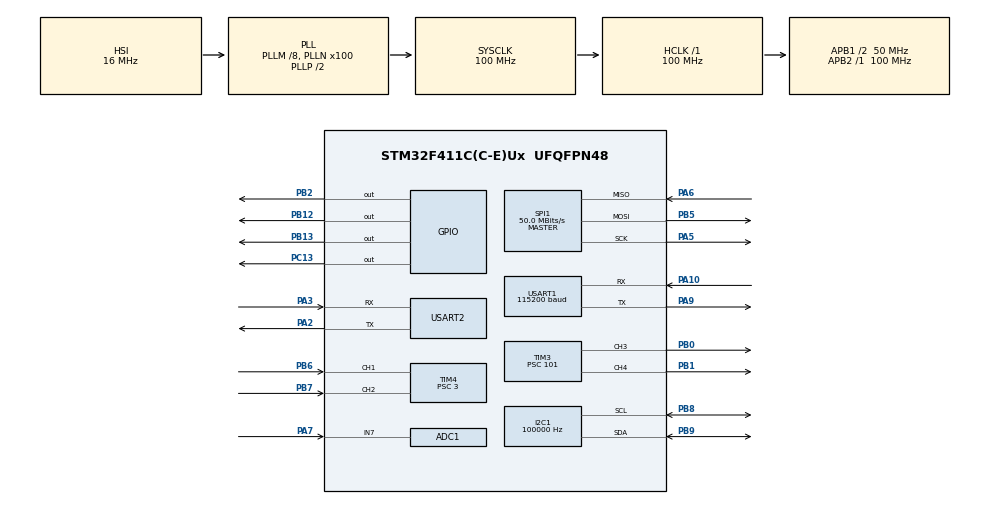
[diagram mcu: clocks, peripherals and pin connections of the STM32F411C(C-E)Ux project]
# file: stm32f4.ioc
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ADC1.Channel-5\#ChannelRegularConversion=ADC_CHANNEL_7
ADC1.NbrOfConversionFlag=1
ADC1.Rank-5\#ChannelRegularConversion=1
ADC1.SamplingTime-5\#ChannelRegularConversion=ADC_SAMPLETIME_3CYCLES
ADC1.master=1
I2C1.ClockSpeed=100000
Mcu.Family=STM32F4
Mcu.Name=STM32F411C(C-E)Ux
Mcu.Package=UFQFPN48
NVIC.PriorityGroup=NVIC_PRIORITYGROUP_4
NVIC.USART1_IRQn=true\:0\:0\:false\:false\:true\:true\:true
NVIC.USART2_IRQn=true\:0\:0\:false\:false\:true\:true\:true
PA10.Mode=Asynchronous
PA10.Signal=USART1_RX
PA13.Mode=Trace_Asynchronous_SW
PA13.Signal=SYS_JTMS-SWDIO
PA14.Mode=Trace_Asynchronous_SW
PA14.Signal=SYS_JTCK-SWCLK
PA2.Mode=Asynchronous
PA2.Signal=USART2_TX
PA3.Mode=Asynchronous
PA3.Signal=USART2_RX
PA5.Mode=Full_Duplex_Master
PA5.Signal=SPI1_SCK
PA6.Mode=Full_Duplex_Master
PA6.Signal=SPI1_MISO
PA7.Signal=ADCx_IN7
PA9.Mode=Asynchronous
PA9.Signal=USART1_TX
PB0.Signal=S_TIM3_CH3
PB1.Signal=S_TIM3_CH4
PB12.Signal=GPIO_Output
PB13.Signal=GPIO_Output
PB2.Signal=GPIO_Output
PB3.Mode=Trace_Asynchronous_SW
PB3.Signal=SYS_JTDO-SWO
PB5.Mode=Full_Duplex_Master
PB5.Signal=SPI1_MOSI
PB6.Signal=S_TIM4_CH1
PB7.Signal=S_TIM4_CH2
PB8.Mode=I2C
PB8.Signal=I2C1_SCL
PB9.Mode=I2C
PB9.Signal=I2C1_SDA
PC13-ANTI_TAMP.Signal=GPIO_Output
PC14-OSC32_IN.Mode=LSE-External-Oscillator
PC14-OSC32_IN.Signal=RCC_OSC32_IN
PC15-OSC32_OUT.Mode=LSE-External-Oscillator
PC15-OSC32_OUT.Signal=RCC_OSC32_OUT
PH0\ -\ OSC_IN.Mode=HSE-External-Oscillator
PH0\ -\ OSC_IN.Signal=RCC_OSC_IN
PH1\ -\ OSC_OUT.Mode=HSE-External-Oscillator
PH1\ -\ OSC_OUT.Signal=RCC_OSC_OUT
ProjectManager.HeapSize=0x200
ProjectManager.StackSize=0x400
ProjectManager.TargetToolchain=STM32CubeIDE
RCC.48MHZClocksFreq_Value=50000000
RCC.AHBFreq_Value=100000000
RCC.APB1CLKDivider=RCC_HCLK_DIV2
RCC.APB1Freq_Value=50000000
RCC.APB1TimFreq_Value=100000000
RCC.APB2Freq_Value=100000000
RCC.APB2TimFreq_Value=100000000
RCC.CortexFreq_Value=100000000
RCC.HCLKFreq_Value=100000000
RCC.HSE_VALUE=25000000
RCC.HSI_VALUE=16000000
RCC.PLLM=8
RCC.PLLN=100
RCC.SYSCLKFreq_VALUE=100000000
RCC.SYSCLKSource=RCC_SYSCLKSOURCE_PLLCLK
RCC.VCOOutputFreq_Value=200000000
SH.ADCx_IN7.0=ADC1_IN7,IN7
SH.S_TIM3_CH3.0=TIM3_CH3,PWM Generation3 CH3
SH.S_TIM3_CH4.0=TIM3_CH4,PWM Generation4 CH4
SH.S_TIM4_CH1.0=TIM4_CH1,Encoder_Interface
SH.S_TIM4_CH2.0=TIM4_CH2,Encoder_Interface
SPI1.CalculateBaudRate=50.0 MBits/s
SPI1.Direction=SPI_DIRECTION_2LINES
SPI1.Mode=SPI_MODE_MASTER
SPI1.VirtualType=VM_MASTER
TIM3.Channel-PWM\ Generation3\ CH3=TIM_CHANNEL_3
TIM3.Channel-PWM\ Generation4\ CH4=TIM_CHANNEL_4
TIM3.OCMode_PWM-PWM\ Generation3\ CH3=TIM_OCMODE_PWM2
TIM3.OCMode_PWM-PWM\ Generation4\ CH4=TIM_OCMODE_PWM2
TIM3.OCPolarity_3=TIM_OCPOLARITY_LOW
TIM3.OCPolarity_4=TIM_OCPOLARITY_LOW
TIM3.Period=20000
TIM3.Prescaler=101
TIM4.EncoderMode=TIM_ENCODERMODE_TI12
TIM4.Prescaler=3
USART1.BaudRate=115200
USART1.VirtualMode=VM_ASYNC
USART2.VirtualMode=VM_ASYNC
VP_TIM3_VS_ClockSourceINT.Mode=Internal
board=custom

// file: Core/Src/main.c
/* USER CODE BEGIN Header */
/**
  ******************************************************************************
  * @file           : main.c
  * @brief          : Main program body
  ******************************************************************************
  * @attention
  *
  * <h2><center>&copy; Copyright (c) 2021 STMicroelectronics.
  * All rights reserved.</center></h2>
  *
  * This software component is licensed by ST under BSD 3-Clause license,
  * the "License"; You may not use this file except in compliance with the
  * License. You may obtain a copy of the License at:
  *                        opensource.org/licenses/BSD-3-Clause
  *
  ******************************************************************************
  */
/* USER CODE END Header */
#include "main.h"

/* USER CODE BEGIN Includes */
#include "motor.h"
#include "cJSON.h"

/* USER CODE END Includes */

/* USER CODE BEGIN PD */
#define COUNTOF(a) (sizeof(a) / sizeof(*(a)))
#define MSG_LEN 10
#define USART_REC_LEN 200
/* USER CODE END PD */

ADC_HandleTypeDef hadc1;

I2C_HandleTypeDef hi2c1;

SPI_HandleTypeDef hspi1;

TIM_HandleTypeDef htim3;
TIM_HandleTypeDef htim4;

UART_HandleTypeDef huart1;
UART_HandleTypeDef huart2;

/* USER CODE BEGIN PV */
cJSON *_flag;
cJSON *_t_x;
cJSON *_t_y;
cJSON *_p_x;
cJSON *_p_y;
cJSON *_v_x;
cJSON *_v_y;
int flag;
double t_x;
double t_y;
double p_x;
double p_y;
double v_x;
double v_y;
motor m1, m2;

uint16_t Mode;

uint8_t m_Uart1_RcvByte;
uint16_t USART1_RX_STA;
uint8_t USART1_RX_BUF[USART_REC_LEN];

uint8_t m_Uart2_RcvByte;
uint16_t USART2_RX_STA;
uint8_t USART2_RX_BUF[USART_REC_LEN];
uint8_t sprintf_buffer[1000];

int Start;               //�???????????????键启�???????????????
int point_choose[4];     //模式六�?�择�???????????????
double target_pos[9][2]; //储存的九个目标点的位�???????????????
/* USER CODE END PV */

void SystemClock_Config(void);
static void MX_GPIO_Init(void);
static void MX_I2C1_Init(void);
static void MX_TIM3_Init(void);
static void MX_USART1_UART_Init(void);
static void MX_USART2_UART_Init(void);
static void MX_TIM4_Init(void);
static void MX_ADC1_Init(void);
static void MX_SPI1_Init(void);

/* USER CODE BEGIN 0 */
#include "stdio.h"
#include "mpu6050.h"
uint8_t myBuffer[] = "I have gotten your message: "; //User prompt information
uint8_t Enter[] = "\r\n";                            //Enter carriage return
uint8_t getBuffer[100] = "ttttttttttttt";            //user-defined buffer
uint8_t UART1_rxBuffer[1000];                        //user-defined buffer
uint8_t UART1_msg_ok = 0;
// Redirect print start

// The _write function is defined in syscalls.c using __weak, so you can define the _write function directly in other files
int _write(int file, char *ptr, int len)
{
  /* Implement your write code here, this is used by puts and printf for example */
  int i = 0;
  for (i = 0; i < len; i++)
    ITM_SendChar((*ptr++));
  return len;
}
// redirect print end
void HAL_UART_ErrorCallback(UART_HandleTypeDef *huart)
{
  /* Prevent unused argument(s) compilation warning */
  if (huart->ErrorCode & HAL_UART_ERROR_ORE)
  {
    __HAL_UART_CLEAR_OREFLAG(huart);
    HAL_UART_Receive_IT(huart, &m_Uart1_RcvByte, 1);
  }
  /* NOTE : This function should not be modified, when the callback is needed,
            the HAL_UART_ErrorCallback can be implemented in the user file.
   */
}
void delay_us(uint32_t udelay)
{
  uint32_t startval, tickn, delays, wait;

  startval = SysTick->VAL;
  tickn = HAL_GetTick();
  //sysc = 72000;  //SystemCoreClock / (1000U / uwTickFreq);
  delays = udelay * 72; //sysc / 1000 * udelay;
  if (delays > startval)
  {
    while (HAL_GetTick() == tickn)
    {
    }
    wait = 72000 + startval - delays;
    while (wait < SysTick->VAL)
    {
    }
  }
  else
  {
    wait = startval - delays;
    while (wait < SysTick->VAL && HAL_GetTick() == tickn)
    {
    }
  }
}
uint16_t ADC_Value = 0;
uint16_t dong_get_adc()
{
  //�?启ADC1
  HAL_ADC_Start(&hadc1);
  //等待ADC转换完成，超时为100ms
  HAL_ADC_PollForConversion(&hadc1, 100);
  //判断ADC是否转换成功
  if (HAL_IS_BIT_SET(HAL_ADC_GetState(&hadc1), HAL_ADC_STATE_REG_EOC))
  {
    //读取�?
    return HAL_ADC_GetValue(&hadc1);
  }
  return 0;
}
void UART1_ReceiveByte(uint8_t Res)
{

  if ((USART1_RX_STA & 0x8000) == 0) //????δ???
  {
    if (USART1_RX_STA & 0x4000) //???????0x0d
    {
      if (Res != 0x0a)
        USART1_RX_STA = 0; //???????,??????
      else
        USART1_RX_STA |= 0x8000; //?????????
    }
    else //??????0X0D
    {
      if (Res == 0x0d)
        USART1_RX_STA |= 0x4000;
      else
      {
        USART1_RX_BUF[USART1_RX_STA & 0X3FFF] = Res;
        USART1_RX_STA++;
        if (USART1_RX_STA > (USART_REC_LEN - 1))
          USART1_RX_STA = 0; //???????????,??????????
      }
    }
  }
}
void UART2_ReceiveByte(uint8_t Res)
{

  if ((USART2_RX_STA & 0x8000) == 0)
  {
    if (USART2_RX_STA & 0x4000)
    {
      if (Res != 0x0a)
        USART2_RX_STA = 0;
      else
        USART2_RX_STA |= 0x8000; //?????????
    }
    else //??????0X0D
    {
      if (Res == 0x0d)
        USART2_RX_STA |= 0x4000;
      else
      {
        USART2_RX_BUF[USART2_RX_STA & 0X3FFF] = Res;
        USART2_RX_STA++;
        if (USART2_RX_STA > (USART_REC_LEN - 1))
          USART2_RX_STA = 0; //???????????,??????????
      }
    }
  }
}
void HAL_UART_RxCpltCallback(UART_HandleTypeDef *UartHandle)
{
  HAL_StatusTypeDef status;

  if (UartHandle->Instance == USART1)
  {
    UART1_ReceiveByte(m_Uart1_RcvByte);
    status = HAL_UART_Receive_IT(&huart1, &m_Uart1_RcvByte, 1);
    // if (HAL_UART_Receive_IT(&huart1, UART1_rxBuffer, MSG_LEN) != HAL_OK)
    // {
    //   Error_Handler();
    // }
  }
  if (UartHandle->Instance == USART2)
  {
    UART2_ReceiveByte(m_Uart2_RcvByte);
    // HAL_GPIO_TogglePin(GPIOC, GPIO_PIN_13);

    status = HAL_UART_Receive_IT(&huart2, &m_Uart2_RcvByte, 1);
    // if (HAL_UART_Receive_IT(&huart1, UART1_rxBuffer, MSG_LEN) != HAL_OK)
    // {
    //   Error_Handler();
    // }
  }
}
void uart_print(UART_HandleTypeDef *uart, uint8_t *s)
{
  while (*s != '\0')
  {
    if (HAL_UART_Transmit(uart, s, 1, 100) != HAL_OK)
    {
      Error_Handler();
    }
    s++;
  }
}
void My_Jsonparse(const char *USART_RX_BUF)
{
  cJSON *recv_json = cJSON_Parse(USART_RX_BUF);
  //if (!root) printf("wwwwwwwwwwwwwww\r\n");
  //else printf("yyyyyyyyyyyyyyyyy!!!!\r\n");
  cJSON *_flag = cJSON_GetObjectItem(recv_json, "flag");
  cJSON *_p_x = cJSON_GetObjectItem(recv_json, "pos_x");
  cJSON *_p_y = cJSON_GetObjectItem(recv_json, "pos_y");
  cJSON *_v_x = cJSON_GetObjectItem(recv_json, "v_x");
  cJSON *_v_y = cJSON_GetObjectItem(recv_json, "v_y");
  cJSON *_t_x = cJSON_GetObjectItem(recv_json, "x");
  cJSON *_t_y = cJSON_GetObjectItem(recv_json, "y");
  double t_x = _t_x->valuedouble;
  double t_y = _t_y->valuedouble;
  double p_x = _p_x->valuedouble;
  double p_y = _p_y->valuedouble;
  double v_x = _v_x->valuedouble;
  double v_y = _v_y->valuedouble;
  ;
  //printf("qaq%s\r\n\r\n", USART_RX_BUF);
  // printf("----%d\r\n", _flag->valueint);
  // if (!recv_json) {
  // 	printf("abaaagbabababababababaab\r\n");
  // 	return;
  // }
  // else
  // 	printf("yeeeeeeeeeeeeeeeeah!!!!\r\n");
  // printf("p_x: %.2lf\r\n", p_x);
  flag = _flag->valueint;
  m1.pos.cur = 50;
  if (flag == 1)
  {
    // _t_x = cJSON_GetObjectItem(recv_json, "x");
    //printf("+++++%s\n",_t_x->valuestring);
    // t_x = _t_x->valuedouble;
    //???    // target_pos[cnt_tar][0] = t_x;
    // // _t_y = cJSON_GetObjectItem(recv_json, "y");
    // // t_y = _t_y->valuedouble;
    // target_pos[cnt_tar][1] = t_y;
    //???    cnt_tar++;
  }
  else
  {
    // printf("success point 1\r\n");
    // _p_x = cJSON_GetObjectItem(recv_json, "pos_x");
    // printf("+++++%.2lf\r\n", _p_x->valuedouble);
    // p_x = _p_x->valuedouble;
    // printf("p_x=%.2lf\xff\xff\xff\r\n", p_x);
    m1.speed.cur = p_x;
    // printf("p_x: %.2lf\r\n", p_x);
    // _p_y = cJSON_GetObjectItem(recv_json, "pos_y");
    // p_y = _p_y->valuedouble;
    m2.speed.cur = p_y;
    // _v_x = cJSON_GetObjectItem(recv_json, "v_x");
    // v_x = _v_x->valuedouble;
    m1.pos.cur = v_x;
    // _v_y = cJSON_GetObjectItem(recv_json, "v_y");
    // v_y = _v_y->valuedouble;
    m2.pos.cur = v_y;
  }
  cJSON_Delete(recv_json);
}

/* USER CODE END 0 */

int main(void)
{

  /* MCU Configuration--------------------------------------------------------*/

  /* Reset of all peripherals, Initializes the Flash interface and the Systick. */
  HAL_Init();

  /* Configure the system clock */
  SystemClock_Config();

  /* Initialize all configured peripherals */
  MX_GPIO_Init();
  MX_I2C1_Init();
  MX_TIM3_Init();
  MX_USART1_UART_Init();
  MX_USART2_UART_Init();
  MX_TIM4_Init();
  MX_ADC1_Init();
  MX_SPI1_Init();
  /* USER CODE BEGIN 2 */
  HAL_TIM_PWM_Start(&htim3, TIM_CHANNEL_3);
  HAL_TIM_PWM_Start(&htim3, TIM_CHANNEL_4);

  HAL_UART_Receive_IT(&huart1, &m_Uart1_RcvByte, 1);
  HAL_UART_Receive_IT(&huart2, &m_Uart2_RcvByte, 1);
  HAL_TIM_Encoder_Start(&htim4, TIM_CHANNEL_ALL);

  PCA9685_Init(&hi2c1);
  float init_angle = 0;
  PCA9685_SetServoAngle(0, &init_angle);
  PCA9685_SetServoAngle(1, &init_angle);
  PCA9685_SetServoAngle(2, &init_angle);
  PCA9685_SetServoAngle(3, &init_angle);
  PCA9685_SetServoAngle(4, &init_angle);

  // HAL_Delay(2000);
  /* USER CODE END 2 */

  /* Infinite loop */
  /* USER CODE BEGIN WHILE */

  //pid init
  motor_init(&m1,
             0, 0, 0, 0,
             0, 0, 0, 0,
             50, 250, 0, 180, htim3, TIM_CHANNEL_3);
  motor_init(&m2,
             0, 0, 0, 0,
             0, 0, 0, 0,
             50, 250, 0, 180, htim3, TIM_CHANNEL_4);
  // int32_t Mode = 0;
  // printf("START!"); // print
  // int32_t CH1_DC = 0, CH2_DC = 0;
  __HAL_TIM_SET_COMPARE(&htim3, TIM_CHANNEL_3, 1550);
  __HAL_TIM_SET_COMPARE(&htim3, TIM_CHANNEL_4, 1450);
  int count = 0;
  int cnt = 0;
  uint8_t ActiveServo = 0;
  lcd_init();
  // HAL_Delay(1000);
  // HAL_Delay(1000);
  // lcd_put_cur(1, 0);
  // lcd_send_string("from Cedr1c");
  OLED_Init();
  while (1)
  {
    lcd_clear();
    lcd_put_cur(0, 0);
    lcd_send_string("Hello World!");
    ADC_Value = dong_get_adc();
    lcd_put_cur(1, 0);
    sprintf(sprintf_buffer, "adc %4d", (int)ADC_Value);
    lcd_send_string(sprintf_buffer);
    HAL_Delay(200);
    OLED_Fill(0, 0, 30, 30, 1);
    HAL_Delay(200);
    OLED_Fill(10, 10, 30, 30, 0);
    HAL_Delay(200);
    // for (int i = 0; i < 180; i++)
    // {
    //   motor_move_angle(&m1, 1.0 * i);
    //   HAL_Delay(30);
    // }
    // for (int i = 180; i >= 0; i--)
    // {
    //   motor_move_angle(&m1, 1.0 * i);
    //   HAL_Delay(30);
    // }
    // while (CH1_DC < 300)
    // {
    //   CH1_DC += 10;
    //   CH2_DC += 10;
    //   // __HAL_TIM_SET_COMPARE(&htim3, TIM_CHANNEL_3, CH1_DC + 1450);
    //   __HAL_TIM_SET_COMPARE(&htim3, TIM_CHANNEL_4, CH2_DC + 1450);
    //   HAL_Delay(10);
    // }
    // while (CH1_DC > 0)
    // {
    //   // __HAL_TIM_SET_COMPARE(&htim3, TIM_CHANNEL_3, CH1_DC + 1450);
    //   __HAL_TIM_SET_COMPARE(&htim3, TIM_CHANNEL_4, CH2_DC + 1450);
    //   CH1_DC -= 10;
    //   CH2_DC -= 10;
    //   HAL_Delay(10);
    // }
    // }
    // while (CH1_DC > 0)
    // {
    //   __HAL_TIM_SET_COMPARE(&htim3, TIM_CHANNEL_3, CH1_DC);
    //   __HAL_TIM_SET_COMPARE(&htim3, TIM_CHANNEL_4, CH2_DC);
    //   CH1_DC -= 10;
    //   CH2_DC -= 10;
    //   HAL_Delay(100);
    // HAL_UART_Transmit(&huart2, "LIVE\n", 2, 1000);

    // printf("Hello SWV debugging prints...count = %d ActiveServo=%d\r\n", count++, ActiveServo);
    // // sprintf(sprintf_buffer, "Hello SWV debugging prints...count = %d cnt=%d\r\n", count++, cnt);
    // uart_print(&huart2, sprintf_buffer);
    // HAL_GPIO_TogglePin(GPIOC, GPIO_PIN_13);
    // HAL_Delay(100);

    lcd_clear();
    lcd_put_cur(0, 0);
    sprintf(sprintf_buffer, "IIC DETECT %d", (int)0);
    lcd_send_string(sprintf_buffer);
    i2c_detect();

    // for (float Angle = 0; Angle < 180; Angle += 1)
    // {
    //   lcd_clear();

    //   PCA9685_SetServoAngle(ActiveServo, &Angle);
    //   lcd_put_cur(0, 0);
    //   sprintf(sprintf_buffer, "servo %d", (int)ActiveServo);
    //   lcd_send_string(sprintf_buffer);
    //   lcd_put_cur(1, 0);
    //   sprintf(sprintf_buffer, "angle %d", (int)Angle);
    //   lcd_send_string(sprintf_buffer);
    //   HAL_Delay(4);
    // }
    // for (float Angle = 180; Angle > 0; Angle -= 1)
    // {
    //   lcd_clear();

    //   PCA9685_SetServoAngle(ActiveServo, &Angle);
    //   lcd_put_cur(0, 0);
    //   sprintf(sprintf_buffer, "servo %d", (int)ActiveServo);
    //   lcd_send_string(sprintf_buffer);
    //   lcd_put_cur(1, 0);
    //   sprintf(sprintf_buffer, "angle %d", (int)Angle);
    //   lcd_send_string(sprintf_buffer);
    //   HAL_Delay(4);
    // }
    ActiveServo++;
    if (ActiveServo > 1)
      ActiveServo = 0;
    SD_MPU6050_Result result;
    SD_MPU6050 mpu1;

    uint8_t mpu_ok[15] = {"MPU WORK FINE\n"};
    uint8_t mpu_not[17] = {"MPU NOT WORKING\n"};
    result = SD_MPU6050_Init(&hi2c1, &mpu1, SD_MPU6050_Device_0, SD_MPU6050_Accelerometer_2G, SD_MPU6050_Gyroscope_250s);
    HAL_Delay(500);
    if (result == SD_MPU6050_Result_Ok)
    {
      printf("6050 ok\r\n");
    }
    else
    {
      printf("6050 buok\r\n");
    }
    HAL_Delay(500);
    SD_MPU6050_ReadTemperature(&hi2c1, &mpu1);
    float temper = mpu1.Temperature;
    SD_MPU6050_ReadGyroscope(&hi2c1, &mpu1);
    int16_t g_x = mpu1.Gyroscope_X;
    int16_t g_y = mpu1.Gyroscope_Y;
    int16_t g_z = mpu1.Gyroscope_Z;
    SD_MPU6050_ReadAccelerometer(&hi2c1, &mpu1);
    int16_t a_x = mpu1.Accelerometer_X;
    int16_t a_y = mpu1.Accelerometer_Y;
    int16_t a_z = mpu1.Accelerometer_Z;
    sprintf(sprintf_buffer, "g_x %d g_y %d g_x %d \r\n", g_x, g_y, g_z);
    printf("%s", sprintf_buffer);
    sprintf(sprintf_buffer, "a_x %d a_y %d a_x %d \r\n", a_x, a_y, a_z);
    printf("%s", sprintf_buffer);
    //   cnt = __HAL_TIM_GetCounter(&htim4);
    //   if (USART1_RX_STA & 0x8000)
    //   {
    //     UART1_rxBuffer[MSG_LEN] = '\n';
    //     My_Jsonparse(UART1_rxBuffer);

    //     UART1_msg_ok = 0;
    //     // printf("px.val=%.2lf\xff\xff\xff\r\n", m1.speed.cur);
    //     // printf("py.val=%.2lf\xff\xff\xff\r\n", m2.speed.cur);
    //     // printf("vx.val=%.2lf\xff\xff\xff\r\n", m1.pos.cur);
    //     // printf("vy.val=%.2lf\xff\xff\xff\r\n", m2.pos.cur);
    //     // printf("tx.val=%.2lf\xff\xff\xff\r\n", m1.pos.input);
    //     // printf("ty.val=%.2lf\xff\xff\xff\r\n", m2.pos.input);
    //     // printf("testing2!"); // print
    //     // printf("\r\n");      // manual new line
    //     switch (Mode) //������Ŀѡ����
    //     {
    //     case 1:
    //       Mode_1();
    //       break;
    //     case 2:
    //       Mode_2();
    //       break;
    //     case 3:
    //       Mode_3();
    //       break;
    //     case 4:
    //       Mode_4();
    //       break;
    //     case 5:
    //       Mode_5();
    //       break;
    //     case 6:
    //       Mode_6();
    //       break;
    //     case 7:
    //       Mode_7();
    //       break;
    //     case 8:
    //       Mode_8();
    //       break;
    //     default:
    //       break;
    //     }
    //   }
    //   char end[] = {0xff, 0xff, 0xff}; //������ͨ��Э��
    //   uint16_t len;
    //   uint16_t t;
    //   uint16_t sel;
    //   uint16_t num;
    //   uint16_t i;
    //   uint32_t times;

    //   uint16_t len_uart;
    //   if (USART2_RX_STA & 0x8000)
    //   {
    //     len = USART2_RX_STA & 0x3fff; //�õ��˴ν��յ������ݳ���
    //     sel = USART2_RX_BUF[0];       //��ʶ��
    //     num = USART2_RX_BUF[2] + USART2_RX_BUF[3] * 256;
    //     HAL_GPIO_TogglePin(GPIOC, GPIO_PIN_13);
    //     if (sel == 0)
    //     {
    //       printf("n3.val=%d\xff\xff\xff", num);
    //       fflush(stdout);
    //     }
    //     else if (sel == 1)
    //     {
    //       printf("n4.val=%d\xff\xff\xff", num);
    //       fflush(stdout);
    //     }
    //     else if (sel == 2)
    //     {
    //       printf("n5.val=%d\xff\xff\xff", num);
    //       fflush(stdout);
    //     }

    //     else if (sel == 3)
    //     {
    //       // LED0 = !LED0;
    //       Mode = 1;
    //     }
    //     else if (sel == 4)
    //     {
    //       Mode = 2;
    //     }
    //     else if (sel == 5)
    //     {
    //       Mode = 3;
    //     }
    //     else if (sel == 6)
    //     {
    //       Mode = 4;
    //     }
    //     else if (sel == 7)
    //     {
    //       Mode = 5;
    //     }
    //     else if (sel == 8)
    //     {
    //       Mode = 6;
    //     }
    //     else if (sel == 9)
    //     {
    //       Mode = 7;
    //     }
    //     else if (sel == 'A')
    //     {
    //       Mode = 8;
    //     }
    //     //ģʽ��ѡ���ĸ�Ŀ���???????????????0~3=A~D
    //     else if (sel == 'B')
    //     {
    //       point_choose[3] = num % 10;
    //       num = num / 10;
    //       point_choose[2] = num % 10;
    //       num = num / 10;
    //       point_choose[1] = num % 10;
    //       num = num / 10;
    //       point_choose[0] = num % 10;
    //     }
    //     //һ������
    //     else if (sel == 'C')
    //     {
    //       Start = 1;
    //     }
    //     //һ��ֹͣ
    //     else if (sel == 'D')
    //     {
    //       Start = 0;
    //     }

    //     USART2_RX_STA = 0;
    //   }
  }
  /* USER CODE END WHILE */

}

void SystemClock_Config(void)
{
  RCC_OscInitTypeDef RCC_OscInitStruct = {0};
  RCC_ClkInitTypeDef RCC_ClkInitStruct = {0};

  /** Configure the main internal regulator output voltage
  */
  __HAL_RCC_PWR_CLK_ENABLE();
  __HAL_PWR_VOLTAGESCALING_CONFIG(PWR_REGULATOR_VOLTAGE_SCALE1);
  /** Initializes the RCC Oscillators according to the specified parameters
  * in the RCC_OscInitTypeDef structure.
  */
  RCC_OscInitStruct.OscillatorType = RCC_OSCILLATORTYPE_HSI;
  RCC_OscInitStruct.HSIState = RCC_HSI_ON;
  RCC_OscInitStruct.HSICalibrationValue = RCC_HSICALIBRATION_DEFAULT;
  RCC_OscInitStruct.PLL.PLLState = RCC_PLL_ON;
  RCC_OscInitStruct.PLL.PLLSource = RCC_PLLSOURCE_HSI;
  RCC_OscInitStruct.PLL.PLLM = 8;
  RCC_OscInitStruct.PLL.PLLN = 100;
  RCC_OscInitStruct.PLL.PLLP = RCC_PLLP_DIV2;
  RCC_OscInitStruct.PLL.PLLQ = 4;
  if (HAL_RCC_OscConfig(&RCC_OscInitStruct) != HAL_OK)
  {
    Error_Handler();
  }
  /** Initializes the CPU, AHB and APB buses clocks
  */
  RCC_ClkInitStruct.ClockType = RCC_CLOCKTYPE_HCLK | RCC_CLOCKTYPE_SYSCLK | RCC_CLOCKTYPE_PCLK1 | RCC_CLOCKTYPE_PCLK2;
  RCC_ClkInitStruct.SYSCLKSource = RCC_SYSCLKSOURCE_PLLCLK;
  RCC_ClkInitStruct.AHBCLKDivider = RCC_SYSCLK_DIV1;
  RCC_ClkInitStruct.APB1CLKDivider = RCC_HCLK_DIV2;
  RCC_ClkInitStruct.APB2CLKDivider = RCC_HCLK_DIV1;

  if (HAL_RCC_ClockConfig(&RCC_ClkInitStruct, FLASH_LATENCY_3) != HAL_OK)
  {
    Error_Handler();
  }
}

static void MX_ADC1_Init(void)
{

  ADC_ChannelConfTypeDef sConfig = {0};

  /** Configure the global features of the ADC (Clock, Resolution, Data Alignment and number of conversion)
  */
  hadc1.Instance = ADC1;
  hadc1.Init.ClockPrescaler = ADC_CLOCK_SYNC_PCLK_DIV4;
  hadc1.Init.Resolution = ADC_RESOLUTION_12B;
  hadc1.Init.ScanConvMode = DISABLE;
  hadc1.Init.ContinuousConvMode = DISABLE;
  hadc1.Init.DiscontinuousConvMode = DISABLE;
  hadc1.Init.ExternalTrigConvEdge = ADC_EXTERNALTRIGCONVEDGE_NONE;
  hadc1.Init.ExternalTrigConv = ADC_SOFTWARE_START;
  hadc1.Init.DataAlign = ADC_DATAALIGN_RIGHT;
  hadc1.Init.NbrOfConversion = 1;
  hadc1.Init.DMAContinuousRequests = DISABLE;
  hadc1.Init.EOCSelection = ADC_EOC_SINGLE_CONV;
  if (HAL_ADC_Init(&hadc1) != HAL_OK)
  {
    Error_Handler();
  }
  /** Configure for the selected ADC regular channel its corresponding rank in the sequencer and its sample time.
  */
  sConfig.Channel = ADC_CHANNEL_7;
  sConfig.Rank = 1;
  sConfig.SamplingTime = ADC_SAMPLETIME_3CYCLES;
  if (HAL_ADC_ConfigChannel(&hadc1, &sConfig) != HAL_OK)
  {
    Error_Handler();
  }
}

static void MX_I2C1_Init(void)
{

  hi2c1.Instance = I2C1;
  hi2c1.Init.ClockSpeed = 100000;
  hi2c1.Init.DutyCycle = I2C_DUTYCYCLE_2;
  hi2c1.Init.OwnAddress1 = 0;
  hi2c1.Init.AddressingMode = I2C_ADDRESSINGMODE_7BIT;
  hi2c1.Init.DualAddressMode = I2C_DUALADDRESS_DISABLE;
  hi2c1.Init.OwnAddress2 = 0;
  hi2c1.Init.GeneralCallMode = I2C_GENERALCALL_DISABLE;
  hi2c1.Init.NoStretchMode = I2C_NOSTRETCH_DISABLE;
  if (HAL_I2C_Init(&hi2c1) != HAL_OK)
  {
    Error_Handler();
  }
}

static void MX_SPI1_Init(void)
{

  /* SPI1 parameter configuration*/
  hspi1.Instance = SPI1;
  hspi1.Init.Mode = SPI_MODE_MASTER;
  hspi1.Init.Direction = SPI_DIRECTION_2LINES;
  hspi1.Init.DataSize = SPI_DATASIZE_8BIT;
  hspi1.Init.CLKPolarity = SPI_POLARITY_LOW;
  hspi1.Init.CLKPhase = SPI_PHASE_1EDGE;
  hspi1.Init.NSS = SPI_NSS_SOFT;
  hspi1.Init.BaudRatePrescaler = SPI_BAUDRATEPRESCALER_2;
  hspi1.Init.FirstBit = SPI_FIRSTBIT_MSB;
  hspi1.Init.TIMode = SPI_TIMODE_DISABLE;
  hspi1.Init.CRCCalculation = SPI_CRCCALCULATION_DISABLE;
  hspi1.Init.CRCPolynomial = 10;
  if (HAL_SPI_Init(&hspi1) != HAL_OK)
  {
    Error_Handler();
  }
}

static void MX_TIM3_Init(void)
{

  TIM_ClockConfigTypeDef sClockSourceConfig = {0};
  TIM_MasterConfigTypeDef sMasterConfig = {0};
  TIM_OC_InitTypeDef sConfigOC = {0};

  htim3.Instance = TIM3;
  htim3.Init.Prescaler = 101;
  htim3.Init.CounterMode = TIM_COUNTERMODE_UP;
  htim3.Init.Period = 20000;
  htim3.Init.ClockDivision = TIM_CLOCKDIVISION_DIV1;
  htim3.Init.AutoReloadPreload = TIM_AUTORELOAD_PRELOAD_DISABLE;
  if (HAL_TIM_Base_Init(&htim3) != HAL_OK)
  {
    Error_Handler();
  }
  sClockSourceConfig.ClockSource = TIM_CLOCKSOURCE_INTERNAL;
  if (HAL_TIM_ConfigClockSource(&htim3, &sClockSourceConfig) != HAL_OK)
  {
    Error_Handler();
  }
  if (HAL_TIM_PWM_Init(&htim3) != HAL_OK)
  {
    Error_Handler();
  }
  sMasterConfig.MasterOutputTrigger = TIM_TRGO_RESET;
  sMasterConfig.MasterSlaveMode = TIM_MASTERSLAVEMODE_DISABLE;
  if (HAL_TIMEx_MasterConfigSynchronization(&htim3, &sMasterConfig) != HAL_OK)
  {
    Error_Handler();
  }
  sConfigOC.OCMode = TIM_OCMODE_PWM2;
  sConfigOC.Pulse = 0;
  sConfigOC.OCPolarity = TIM_OCPOLARITY_LOW;
  sConfigOC.OCFastMode = TIM_OCFAST_DISABLE;
  if (HAL_TIM_PWM_ConfigChannel(&htim3, &sConfigOC, TIM_CHANNEL_3) != HAL_OK)
  {
    Error_Handler();
  }
  if (HAL_TIM_PWM_ConfigChannel(&htim3, &sConfigOC, TIM_CHANNEL_4) != HAL_OK)
  {
    Error_Handler();
  }
  HAL_TIM_MspPostInit(&htim3);
}

static void MX_TIM4_Init(void)
{

  TIM_Encoder_InitTypeDef sConfig = {0};
  TIM_MasterConfigTypeDef sMasterConfig = {0};

  htim4.Instance = TIM4;
  htim4.Init.Prescaler = 3;
  htim4.Init.CounterMode = TIM_COUNTERMODE_UP;
  htim4.Init.Period = 65535;
  htim4.Init.ClockDivision = TIM_CLOCKDIVISION_DIV1;
  htim4.Init.AutoReloadPreload = TIM_AUTORELOAD_PRELOAD_DISABLE;
  sConfig.EncoderMode = TIM_ENCODERMODE_TI12;
  sConfig.IC1Polarity = TIM_ICPOLARITY_RISING;
  sConfig.IC1Selection = TIM_ICSELECTION_DIRECTTI;
  sConfig.IC1Prescaler = TIM_ICPSC_DIV1;
  sConfig.IC1Filter = 0;
  sConfig.IC2Polarity = TIM_ICPOLARITY_RISING;
  sConfig.IC2Selection = TIM_ICSELECTION_DIRECTTI;
  sConfig.IC2Prescaler = TIM_ICPSC_DIV1;
  sConfig.IC2Filter = 0;
  if (HAL_TIM_Encoder_Init(&htim4, &sConfig) != HAL_OK)
  {
    Error_Handler();
  }
  sMasterConfig.MasterOutputTrigger = TIM_TRGO_RESET;
  sMasterConfig.MasterSlaveMode = TIM_MASTERSLAVEMODE_DISABLE;
  if (HAL_TIMEx_MasterConfigSynchronization(&htim4, &sMasterConfig) != HAL_OK)
  {
    Error_Handler();
  }
}

static void MX_USART1_UART_Init(void)
{

  huart1.Instance = USART1;
  huart1.Init.BaudRate = 115200;
  huart1.Init.WordLength = UART_WORDLENGTH_8B;
  huart1.Init.StopBits = UART_STOPBITS_1;
  huart1.Init.Parity = UART_PARITY_NONE;
  huart1.Init.Mode = UART_MODE_TX_RX;
  huart1.Init.HwFlowCtl = UART_HWCONTROL_NONE;
  huart1.Init.OverSampling = UART_OVERSAMPLING_16;
  if (HAL_UART_Init(&huart1) != HAL_OK)
  {
    Error_Handler();
  }
}

static void MX_USART2_UART_Init(void)
{

  huart2.Instance = USART2;
  huart2.Init.BaudRate = 115200;
  huart2.Init.WordLength = UART_WORDLENGTH_8B;
  huart2.Init.StopBits = UART_STOPBITS_1;
  huart2.Init.Parity = UART_PARITY_NONE;
  huart2.Init.Mode = UART_MODE_TX_RX;
  huart2.Init.HwFlowCtl = UART_HWCONTROL_NONE;
  huart2.Init.OverSampling = UART_OVERSAMPLING_16;
  if (HAL_UART_Init(&huart2) != HAL_OK)
  {
    Error_Handler();
  }
}

static void MX_GPIO_Init(void)
{
  GPIO_InitTypeDef GPIO_InitStruct = {0};

  /* GPIO Ports Clock Enable */
  __HAL_RCC_GPIOC_CLK_ENABLE();
  __HAL_RCC_GPIOH_CLK_ENABLE();
  __HAL_RCC_GPIOA_CLK_ENABLE();
  __HAL_RCC_GPIOB_CLK_ENABLE();

  /*Configure GPIO pin Output Level */
  HAL_GPIO_WritePin(GPIOC, GPIO_PIN_13, GPIO_PIN_RESET);

  /*Configure GPIO pin Output Level */
  HAL_GPIO_WritePin(GPIOB, GPIO_PIN_2 | GPIO_PIN_12 | GPIO_PIN_13, GPIO_PIN_RESET);

  /*Configure GPIO pin : PC13 */
  GPIO_InitStruct.Pin = GPIO_PIN_13;
  GPIO_InitStruct.Mode = GPIO_MODE_OUTPUT_PP;
  GPIO_InitStruct.Pull = GPIO_NOPULL;
  GPIO_InitStruct.Speed = GPIO_SPEED_FREQ_LOW;
  HAL_GPIO_Init(GPIOC, &GPIO_InitStruct);

  /*Configure GPIO pins : PB2 PB12 PB13 */
  GPIO_InitStruct.Pin = GPIO_PIN_2 | GPIO_PIN_12 | GPIO_PIN_13;
  GPIO_InitStruct.Mode = GPIO_MODE_OUTPUT_PP;
  GPIO_InitStruct.Pull = GPIO_NOPULL;
  GPIO_InitStruct.Speed = GPIO_SPEED_FREQ_LOW;
  HAL_GPIO_Init(GPIOB, &GPIO_InitStruct);
}

void Error_Handler(void)
{
  /* USER CODE BEGIN Error_Handler_Debug */
  /* User can add his own implementation to report the HAL error return state */
  printf("ERROR\n");

  __disable_irq();
  while (1)
  {
  }
  /* USER CODE END Error_Handler_Debug */
}

/************************ (C) COPYRIGHT STMicroelectronics *****END OF FILE****/
